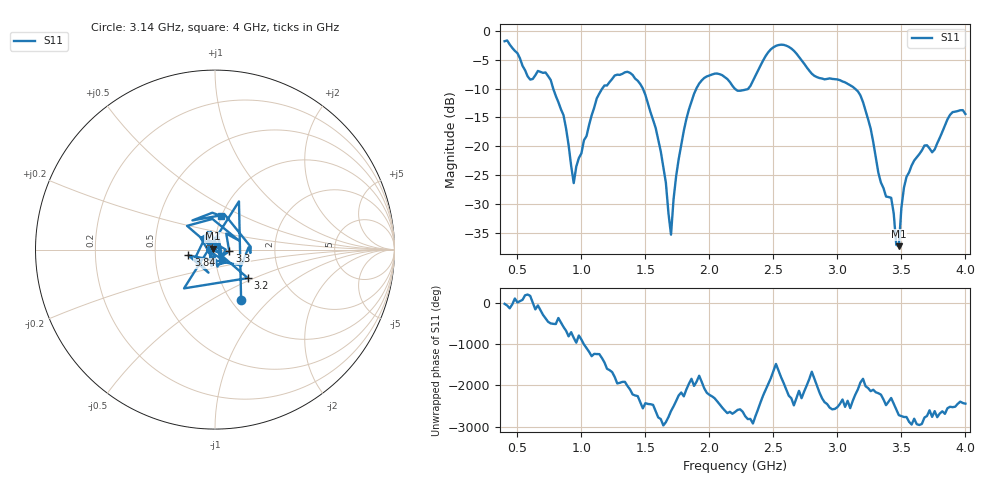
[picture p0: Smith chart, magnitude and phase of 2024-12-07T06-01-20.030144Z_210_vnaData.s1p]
!Created with skrf (http://scikit-rf.org).
# Hz S RI R 50.0
!freq ReS11 ImS11
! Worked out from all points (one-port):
!   181 points, 400 MHz to 4 GHz, reference 50 ohm
!   lowest |S11| = -37.4 dB at 3.48 GHz (marker M1), VSWR 1.03, Z = 48.7 + j0.425 ohm
!   |S11| at or under -10 dB: 779.8 MHz to 1.162 GHz (382.3 MHz wide, 39.4 % of centre); 1.481 GHz to 1.898 GHz (417 MHz wide, 24.7 % of centre); 3.137 GHz to end of sweep (the widest 3 of 4)
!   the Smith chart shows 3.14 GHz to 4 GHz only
!   S11 on the Smith chart (normalised r, x): 3.14 GHz: 1.12, -0.69; 3.2 GHz: 1.36, -0.46; 3.3 GHz: 1.17, -0.02; 3.84 GHz: 0.74, -0.05; 4 GHz: 1.00, +0.39
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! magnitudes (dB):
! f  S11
! 400 MHz  -1.8
! 600 MHz  -8.4
! 720 MHz  -7.2
! 860 MHz  -14.6
! 940 MHz  -26.4
! 1.12 GHz  -11.7
! 1.3 GHz  -7.6
! 1.5 GHz  -11.1
! 1.62 GHz  -20.9
! 1.7 GHz  -35.4
! 1.76 GHz  -22.2
! 1.92 GHz  -9.1
! 2.06 GHz  -7.4
! 2.2 GHz  -10.0
! 2.3 GHz  -10.1
! 2.5 GHz  -2.8
! 2.66 GHz  -3.4
! 3.1 GHz  -9.4
! 3.14 GHz  -10.0
! 3.2 GHz  -12.3
! 3.3 GHz  -21.9
! 3.42 GHz  -28.9
! 3.46 GHz  -37.1
! 3.48 GHz  -37.4
! 3.52 GHz  -27.2
! 3.56 GHz  -24.5
! 3.84 GHz  -16.4
! 4 GHz  -14.4
